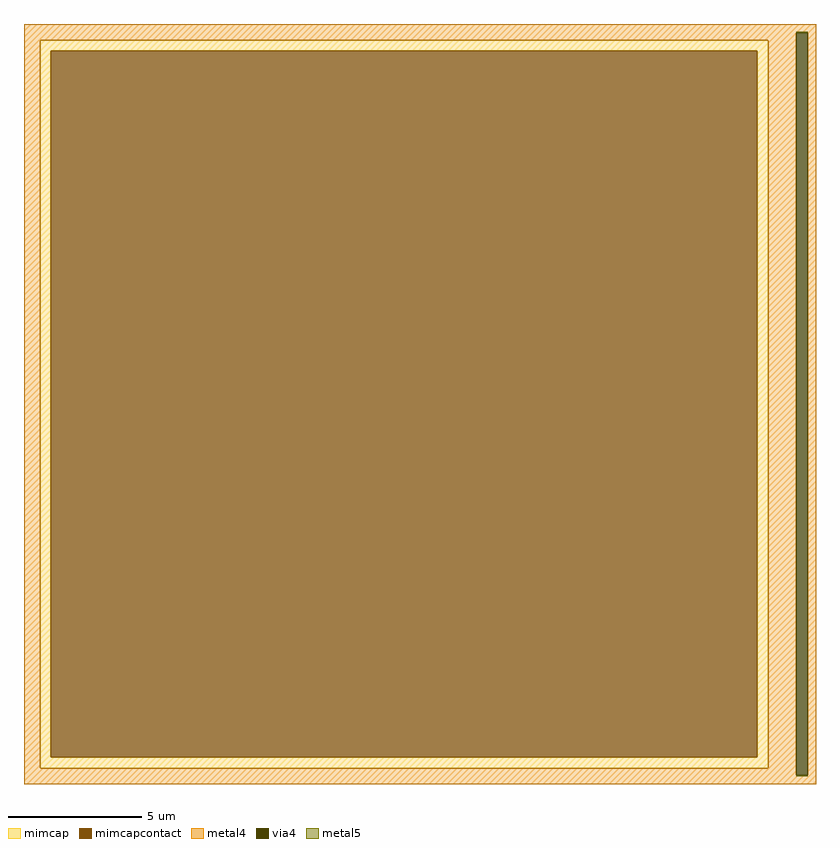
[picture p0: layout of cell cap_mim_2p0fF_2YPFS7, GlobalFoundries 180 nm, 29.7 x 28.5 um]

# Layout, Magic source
magic
tech gf180mcuC
magscale 1 10
<< mimcap >>
rect -2850 2650 2610 2730
rect -2850 -2650 -2770 2650
rect 2530 -2650 2610 2650
rect -2850 -2730 2610 -2650
<< mimcapcontact >>
rect -2770 -2650 2530 2650
<< metal4 >>
rect -2970 2783 2970 2850
rect -2970 2730 2820 2783
rect -2970 -2730 -2850 2730
rect 2610 -2730 2820 2730
rect -2970 -2783 2820 -2730
rect 2908 -2783 2970 2783
rect -2970 -2850 2970 -2783
<< via4 >>
rect 2820 -2783 2908 2783
<< metal5 >>
rect 2820 2783 2908 2793
rect 2820 -2793 2908 -2783
<< properties >>
string FIXED_BBOX -2970 -2850 2730 2850
string gencell cap_mim_2p0fF
string library gf180mcu
string parameters w 27.3 l 27.3 val 20.816k carea 25.00 cperi 20.00 nx 1 ny 1 dummy 0 square 0 lmin 5.00 wmin 5.00 lmax 100.0 wmax 100.0 dc 0 bconnect 1 tconnect 1
<< end >>
